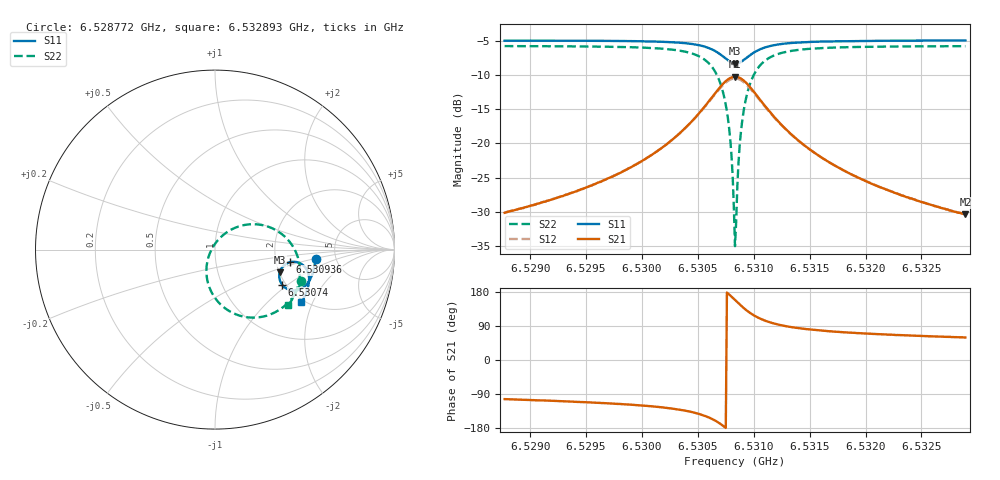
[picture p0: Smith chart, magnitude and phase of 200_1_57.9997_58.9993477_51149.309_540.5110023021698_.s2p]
#  HZ  S  RI  R  50.00
! Rohde & Schwarz Vector Network Analyzer
! Rohde-Schwarz,ZNB20-2Port,1311601062101988,3.16
! Created: UTC 3/21/2024, 12:59:12 AM
! freq[Hz]  re:S11  im:S11  re:S21  im:S21  re:S12  im:S12  re:S22  im:S22
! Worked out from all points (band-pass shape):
!   401 points, 6.528772 GHz to 6.532893 GHz, reference 50 ohm
!   highest |S21| = -10.26 dB at 6.530833 GHz (marker M1); lowest = -30.4 dB at 6.532893 GHz (marker M2)
!   |S21| within 3 dB of the highest: 6.530627 GHz to 6.531039 GHz (412 kHz wide, 0.00631 % of centre)
!   lowest |S11| = -8.4 dB at 6.530833 GHz (marker M3), VSWR 2.24, Z = 101 - j29.7 ohm
!   |S11| at or under -10 dB: nowhere
!   |S22| runs from -35.0 to -5.8 dB; largest |S21 - S12| = 0.012
!   S11 on the Smith chart (normalised r, x): 6.528772 GHz: 3.49, -0.51; 6.53074 GHz: 1.91, -0.91; 6.530936 GHz: 2.37, -0.41; 6.532893 GHz: 1.92, -1.66
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6.5287725e9  0.5603 -0.0496  -0.0071 -0.0303  -0.00781 -0.0302  0.4818 -0.1775
6.5294626e9  0.551 -0.1073  -0.0166 -0.0432  -0.0177 -0.0428  0.4499 -0.2409
6.5301528e9  0.5242 -0.1766  -0.0502 -0.0743  -0.0524 -0.0727  0.3673 -0.3295
6.5303897e9  0.4976 -0.2072  -0.09 -0.0936  -0.0929 -0.0905  0.2861 -0.3689
6.5305648e9  0.4542 -0.2271  -0.1581 -0.1002  -0.1605 -0.0937  0.1601 -0.3737
6.5306678e9  0.4092 -0.2224  -0.2277 -0.0739  -0.2269 -0.0641  0.0432 -0.3163
6.5307399e9  0.3739 -0.1955  -0.2791 -0.0152  -0.2732 -0.00522  -0.0322 -0.2081
6.5307811e9  0.3605 -0.1677  -0.295 0.0378  -0.286 0.046  -0.0479 -0.1174
6.5308017e9  0.358 -0.1513  -0.2955 0.0677  -0.2853 0.0743  -0.043 -0.0679
6.5308223e9  0.359 -0.1343  -0.2903 0.0982  -0.2794 0.1029  -0.0282 -0.0192
6.5308326e9  0.3609 -0.126  -0.2853 0.113  -0.2742 0.1169  -0.0172 0.00413
6.5308429e9  0.3637 -0.1176  -0.2789 0.1273  -0.2677 0.1301  -0.00406 0.0262
6.5308532e9  0.3674 -0.1099  -0.2711 0.1409  -0.2601 0.1426  0.0113 0.0467
6.5308738e9  0.3769 -0.096  -0.252 0.1649  -0.2416 0.1649  0.0469 0.0825
6.5308944e9  0.3887 -0.0847  -0.2296 0.1842  -0.2203 0.1828  0.0873 0.1098
6.5309356e9  0.4154 -0.071  -0.1808 0.2074  -0.1738 0.2045  0.1723 0.1386
6.5310077e9  0.4585 -0.0703  -0.1054 0.2095  -0.1019 0.2065  0.2988 0.1268
6.5311108e9  0.4963 -0.092  -0.0404 0.1786  -0.0388 0.1768  0.403 0.0584
6.5312653e9  0.5185 -0.128  -0.00126 0.1321  -1.08e-05 0.1314  0.4597 -0.0372
6.5315228e9  0.5241 -0.1714  0.0154 0.0863  0.0164 0.086  0.4731 -0.1344
6.5322129e9  0.5068 -0.2428  0.0176 0.0414  0.0184 0.0412  0.4437 -0.2504
6.5328928e9  0.4815 -0.2946  0.0154 0.026  0.016 0.0257  0.4083 -0.3103
